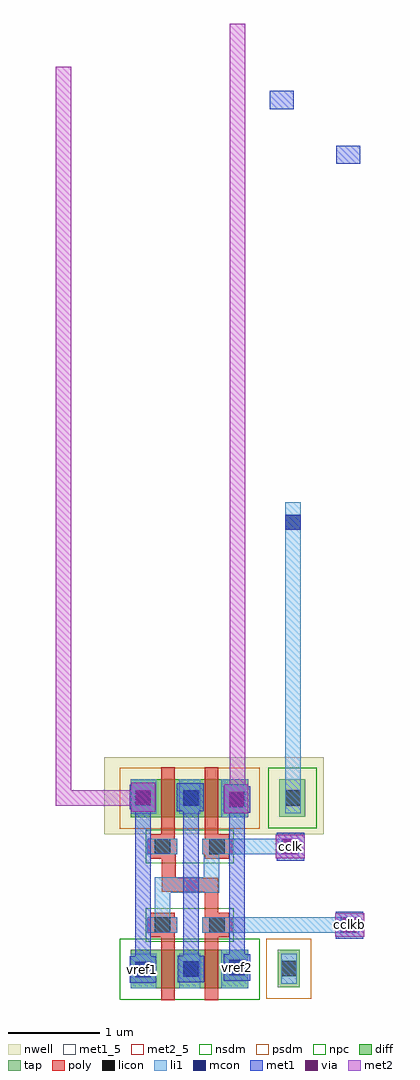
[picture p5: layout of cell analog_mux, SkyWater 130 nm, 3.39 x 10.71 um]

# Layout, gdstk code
import gdstk
lib = gdstk.Library(unit=1e-6, precision=1e-09)
def R(c, l, rs):  # rectangles x0, y0, x1, y1
    for r in rs: c.add(gdstk.rectangle(r[:2], r[2:], *l))
nwell = (64, 20)
diff = (65, 20)
tap = (65, 44)
poly = (66, 20)
licon = (66, 44)
li1 = (67, 20)
mcon = (67, 44)
met1_5 = (68, 5)
met1 = (68, 20)
via = (68, 44)
met2_5 = (69, 5)
met2 = (69, 20)
nsdm = (93, 44)
psdm = (94, 20)
npc = (95, 20)

analog_mux = lib.new_cell('analog_mux')
R(analog_mux, nwell, [(-0.625,1.64,1.785,2.485)])
R(analog_mux, diff, [(-0.33,-0.05,0.96,0.37), (-0.33,1.825,0.96,2.245)])
R(analog_mux, tap, [(1.28,-0.04,1.525,0.37), (1.3,1.83,1.585,2.245)])
R(analog_mux, poly, [(0,-0.18,0.15,0.51), (0.48,-0.18,0.63,0.51), (-0.12,0.51,0.15,0.56), (0.48,0.51,0.75,0.56), (-0.15,0.56,0.18,0.73), (0.45,0.56,0.78,0.73), (-0.12,0.73,0.15,0.78), (0.48,0.73,0.75,0.78), (0.48,0.78,0.63,1.01), (0.01,1.01,0.63,1.16), (0.01,1.16,0.16,1.37), (-0.12,1.37,0.16,1.42), (0.48,1.37,0.75,1.42), (-0.15,1.42,0.18,1.59), (0.45,1.42,0.78,1.59), (-0.12,1.59,0.15,1.64), (0.48,1.59,0.75,1.64), (0,1.64,0.15,2.375), (0.48,1.64,0.63,2.375)])
R(analog_mux, licon, [(-0.285,0.07,-0.115,0.24), (0.245,0.075,0.415,0.245), (1.32,0.08,1.49,0.25), (0.75,0.09,0.92,0.26), (-0.07,0.56,0.1,0.73), (0.53,0.56,0.7,0.73), (-0.07,1.42,0.1,1.59), (0.53,1.42,0.7,1.59), (0.75,1.935,0.92,2.105), (0.245,1.95,0.415,2.12), (1.365,1.95,1.535,2.12), (-0.285,1.955,-0.115,2.125)])
R(analog_mux, li1, [(-0.33,-0.05,-0.055,0.33), (0.2,-0.05,0.43,0.33), (0.66,-0.05,0.96,0.37), (1.32,0,1.49,0.33), (-0.15,0.56,0.18,0.73), (0.45,0.56,2.175,0.73), (-0.07,0.73,0.1,1), (-0.07,1,0.64,1.17), (0.47,1.17,0.64,1.42), (-0.15,1.42,0.18,1.59), (0.45,1.42,1.51,1.59), (0.66,1.825,0.96,2.245), (-0.33,1.865,-0.055,2.245), (0.2,1.865,0.43,2.245), (1.365,1.87,1.535,5.285)])
R(analog_mux, mcon, [(-0.285,0.07,-0.115,0.24), (0.245,0.075,0.415,0.245), (0.75,0.09,0.92,0.26), (1.975,0.56,2.145,0.73), (1.325,1.42,1.495,1.59), (0.75,1.935,0.92,2.105), (0.245,1.95,0.415,2.12), (-0.285,1.955,-0.115,2.125), (1.365,4.98,1.535,5.15)])
R(analog_mux, met1_5, [(-0.285,0.07,-0.115,0.24), (0.75,0.09,0.92,0.26)])
R(analog_mux, met1, [(-0.345,0.01,-0.055,0.3), (0.185,0.015,0.475,0.305), (0.69,0.03,0.98,0.32), (-0.285,0.3,-0.115,1.885), (0.245,0.305,0.415,1.89), (0.75,0.32,0.92,1.87), (1.92,0.49,2.22,0.515), (1.91,0.515,2.23,0.775), (1.92,0.775,2.22,0.79), (1.27,1.35,1.57,1.375), (1.26,1.375,1.58,1.635), (1.27,1.635,1.57,1.655), (0.695,1.87,0.955,1.875), (0.69,1.875,0.98,2.165), (-0.325,1.885,-0.065,1.915), (0.175,1.89,0.47,2.2), (-0.345,1.915,-0.055,2.185), (0.695,2.165,0.955,2.19), (-0.325,2.185,-0.065,2.205), (1.365,4.98,1.535,5.15), (1.925,9,2.185,9.2), (1.195,9.6,1.455,9.8)])
R(analog_mux, via, [(1.995,0.57,2.145,0.72), (1.345,1.43,1.495,1.58), (0.75,1.955,0.9,2.105), (-0.27,1.97,-0.12,2.12)])
R(analog_mux, met2_5, [(1.91,0.515,2.23,0.775), (1.26,1.375,1.58,1.635)])
R(analog_mux, met2, [(1.91,0.515,2.23,0.775), (1.26,1.375,1.58,1.635), (0.695,1.87,0.955,2.19), (-0.325,1.885,-0.065,1.955), (-1.155,1.955,-0.065,2.125), (-1.155,2.125,-0.985,10.065), (-0.325,2.125,-0.065,2.205), (0.755,2.19,0.925,10.535)])
R(analog_mux, nsdm, [(-0.455,-0.175,1.085,0.495), (1.175,1.705,1.71,2.37)])
R(analog_mux, psdm, [(1.155,-0.165,1.65,0.495), (-0.455,1.7,1.085,2.37)])
R(analog_mux, npc, [(-0.17,0.46,0.8,0.83), (-0.17,1.32,0.8,1.69)])
analog_mux.add(gdstk.Label('vref2', (0.835,0.175), layer=68, texttype=5))
analog_mux.add(gdstk.Label('vref1', (-0.2,0.155), layer=68, texttype=5))
analog_mux.add(gdstk.Label('cclkb', (2.07,0.645), layer=69, texttype=5))
analog_mux.add(gdstk.Label('cclk', (1.42,1.505), layer=69, texttype=5))

lib.write_gds('analog_mux.gds')
